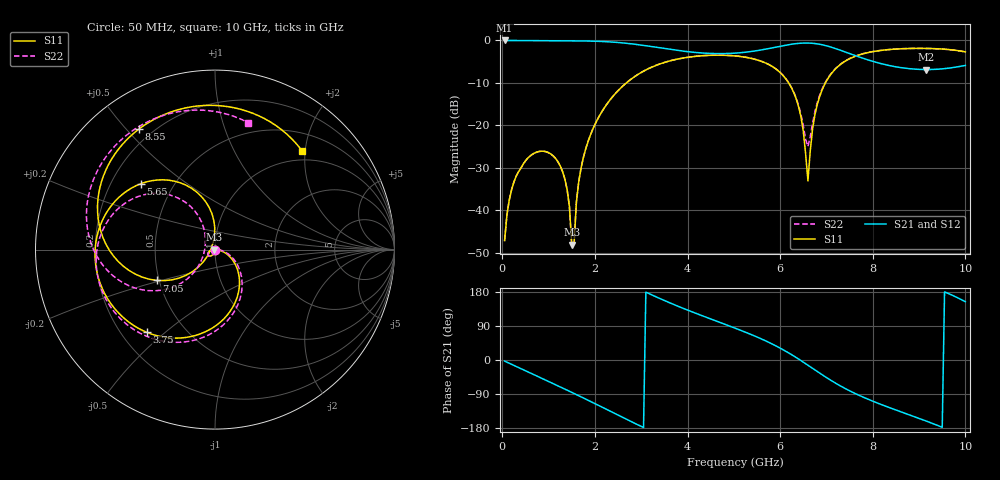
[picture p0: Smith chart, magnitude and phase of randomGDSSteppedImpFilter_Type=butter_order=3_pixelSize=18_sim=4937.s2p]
! freq	dB(S11)	phase(S11)	dB(S12)	phase(S12)
!  dB(S21)	phase(S21)	dB(S22)	phase(S22)
!S-par simulation data
#  GHz  S  DB  R 50
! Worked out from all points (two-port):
!   200 points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, 50 MHz to 10 GHz, reference 50 ohm
!   highest |S21| = -0.01 dB at 50 MHz (marker M1); lowest = -6.9 dB at 9.15 GHz (marker M2)
!   |S21| within 3 dB of the highest: start of sweep to 4.382 GHz; 5.011 GHz to 7.477 GHz (2.466 GHz wide, 39.5 % of centre)
!   lowest |S11| = -48.1 dB at 1.5 GHz (marker M3), VSWR 1.01, Z = 49.6 - j0.0895 ohm
!   |S11| at or under -10 dB: start of sweep to 2.68 GHz; 6.182 GHz to 6.979 GHz (796.9 MHz wide, 12.1 % of centre)
!   |S22| runs from -48.5 to -1.9 dB; largest |S21 - S12| = 0
!   S11 on the Smith chart (normalised r, x): 50 MHz: 1.00, -0.01; 3.75 GHz: 0.30, -0.44; 5.65 GHz: 0.33, +0.35; 7.05 GHz: 0.48, -0.19; 8.55 GHz: 0.15, +0.54; 10 GHz: 0.82, +1.94
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0.05  -47.17 -88.5  -0.01 -2.9  -0.01 -2.9  -47.17 -88.5
0.3  -31.99 -105.0  -0.03 -17.1  -0.03 -17.1  -31.99 -104.8
0.9  -26.13 -141.9  -0.07 -51.0  -0.07 -51.0  -26.13 -141.2
1.35  -32.61 -167.0  -0.09 -76.7  -0.09 -76.7  -32.65 -167.4
1.5  -48.11 -166.7  -0.10 -85.4  -0.10 -85.4  -48.49 176.9
1.55  -47.99 -10.6  -0.10 -88.3  -0.10 -88.3  -47.74 9.5
1.75  -27.65 -13.4  -0.13 -100.1  -0.13 -100.1  -27.61 -8.7
2.6  -10.76 -64.5  -0.58 -151.4  -0.58 -151.4  -10.75 -60.0
3.4  -5.55 -111.1  -1.74 162.3  -1.74 162.3  -5.54 -105.2
3.75  -4.48 -129.5  -2.30 144.1  -2.30 144.1  -4.47 -122.9
5.05  -3.68 168.9  -2.98 83.0  -2.98 83.0  -3.67 178.9
5.65  -5.16 138.3  -2.13 52.6  -2.13 52.6  -5.14 150.8
6.35  -13.90 95.0  -0.75 6.3  -0.75 6.3  -13.70 116.2
6.5  -21.40 91.4  -0.62 -5.6  -0.62 -5.6  -20.16 124.0
6.6  -33.09 162.8  -0.61 -13.8  -0.61 -13.8  -24.96 174.9
6.7  -20.86 -133.8  -0.67 -22.0  -0.67 -22.0  -19.50 -139.0
7.05  -8.67 -152.2  -1.42 -50.2  -1.42 -50.2  -8.55 -142.7
7.65  -3.62 168.1  -3.69 -90.1  -3.69 -90.1  -3.58 -177.3
8.35  -2.16 131.7  -5.90 -125.2  -5.90 -125.2  -2.14 150.2
8.55  -2.00 122.3  -6.31 -134.2  -6.31 -134.2  -1.99 141.9
9.15  -1.88 94.4  -6.86 -160.9  -6.86 -160.9  -1.89 117.2
10  -2.70 48.4  -5.88 153.7  -5.88 153.7  -2.72 75.4
